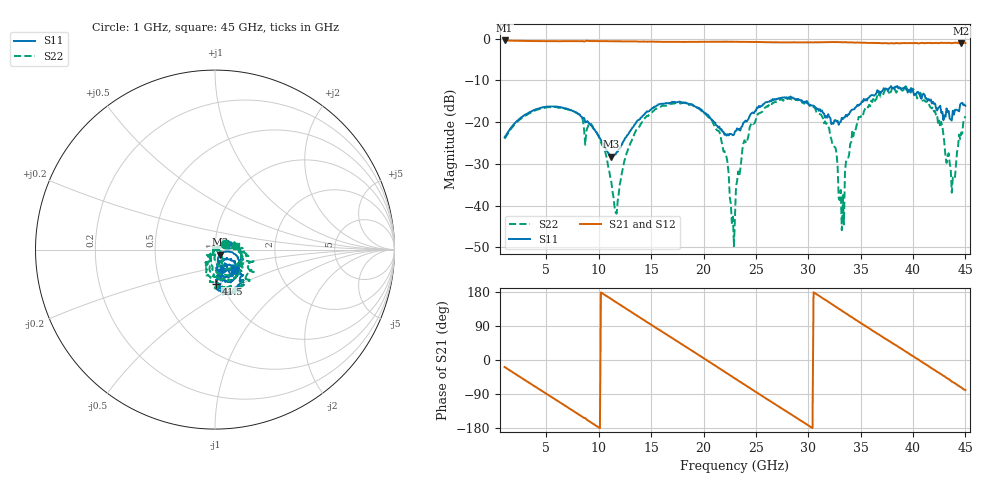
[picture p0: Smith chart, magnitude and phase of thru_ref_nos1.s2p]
!Keysight Technologies,N5247B,MY61255062,A.19.80.06
!Date: Monday, May 18, 2026 12:34:13
!Correction: S11(Cdelta 2-Port  )
!S21(Cdelta 2-Port  )
!S12(Cdelta 2-Port  )
!S22(Cdelta 2-Port  )
!S2P File: Measurements: S11, S21, S12, S22:
# Hz S  dB  R 50
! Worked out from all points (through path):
!   441 points, 1 GHz to 45 GHz, reference 50 ohm
!   highest |S21| = -0.40 dB at 1 GHz (marker M1); lowest = -1.1 dB at 44.6 GHz (marker M2)
!   group delay of S21, straight-line fit = 49.3 ps
!   lowest |S11| = -28.2 dB at 11.2 GHz (marker M3), VSWR 1.08, Z = 52.6 - j3.02 ohm
!   |S11| at or under -10 dB: start of sweep to end of sweep
!   |S22| runs from -49.7 to -11.4 dB; largest |S21 - S12| = 0.013
!   S11 on the Smith chart (normalised r, x): 1 GHz: 1.12, +0.07; 41.5 GHz: 0.94, -0.37; 45 GHz: 1.21, -0.28
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1e9  -23.61 27.2  -0.40 -18.5  -0.40 -18.5  -23.96 28.2
4.8e9  -16.38 -15.0  -0.57 -85.8  -0.57 -85.8  -16.55 -9.5
8.4e9  -18.87 -65.2  -0.56 -149.5  -0.56 -149.5  -18.87 -60.5
1.12e10  -28.24 -47.8  -0.59 160.4  -0.58 160.4  -34.44 -93.6
1.17e10  -27.18 -25.7  -0.60 151.5  -0.60 151.5  -41.92 1.1
1.34e10  -20.60 -8.9  -0.64 121.4  -0.63 121.4  -22.75 25.3
1.57e10  -15.71 -32.2  -0.73 80.5  -0.73 80.5  -16.56 -10.2
2.07e10  -19.23 -85.4  -0.69 -7.4  -0.69 -7.4  -19.22 -97.1
2.22e10  -23.22 -67.1  -0.70 -34.5  -0.70 -34.5  -28.36 -123.4
2.27e10  -22.94 -47.6  -0.72 -43.4  -0.72 -43.4  -44.19 -151.0
2.3e10  -22.22 -48.9  -0.73 -48.7  -0.72 -48.7  -42.15 -5.8
2.38e10  -20.07 -34.3  -0.73 -62.9  -0.73 -62.9  -25.15 25.6
2.53e10  -16.09 -34.8  -0.78 -89.8  -0.78 -89.8  -17.89 2.8
3.04e10  -16.01 -79.4  -0.88 -179.6  -0.86 -179.6  -16.29 -94.6
3.25e10  -19.54 -66.7  -0.80 142.8  -0.80 142.7  -25.94 -141.0
3.32e10  -18.97 -54.5  -0.81 130.1  -0.83 130.0  -45.90 161.9
3.48e10  -16.07 -37.4  -0.90 101.3  -0.92 101.3  -18.77 15.5
3.77e10  -11.90 -62.3  -1.10 50.3  -1.08 50.4  -12.94 -34.2
4.15e10  -14.46 -88.0  -1.01 -16.9  -1.01 -16.9  -15.50 -100.7
4.38e10  -17.25 -66.9  -1.00 -58.2  -0.95 -58.2  -33.26 -3.3
4.46e10  -15.47 -49.3  -1.13 -72.3  -1.01 -72.3  -22.50 18.6
4.5e10  -16.07 -46.5  -1.01 -79.3  -1.02 -79.9  -18.57 9.6
